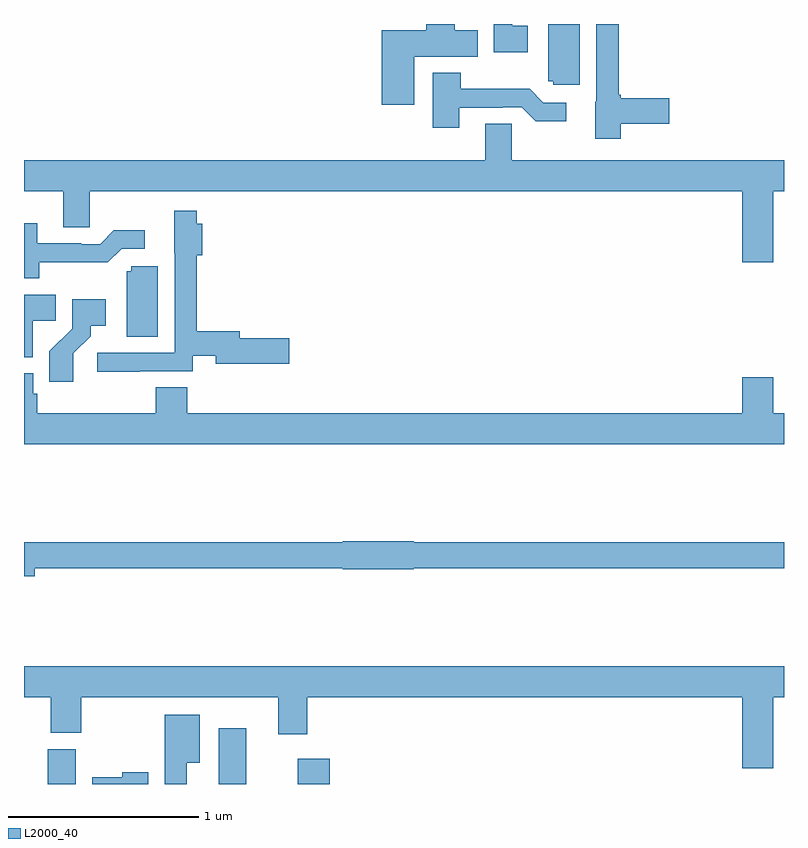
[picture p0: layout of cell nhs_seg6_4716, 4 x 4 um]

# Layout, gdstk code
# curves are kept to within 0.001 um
import gdstk
lib = gdstk.Library(unit=1e-6, precision=1e-09)
def R(c, l, rs):  # rectangles x0, y0, x1, y1
    for r in rs: c.add(gdstk.rectangle(r[:2], r[2:], *l))
def P(c, l, *ps):  # polygons
    for p in ps: c.add(gdstk.Polygon(p, *l))
L2000_40 = (2000, 40)

nhs_seg6_4716 = lib.new_cell('nhs_seg6_4716')
R(nhs_seg6_4716, L2000_40, [(389.126,993.5,389.272,993.684), (390.026,993.5,390.169,993.793), (390.44,993.5,390.608,993.634)])
P(nhs_seg6_4716, L2000_40, [(391.651,997.492),(391.57,997.492),(391.57,997.5),(391.473,997.5),(391.473,997.352),(391.651,997.352)],
  [(392.142,996.974),(392.395,996.974),(392.395,997.109),(392.142,997.109),(392.142,997.127),(392.129,997.127),(392.129,997.5),(392.013,997.5),(392.013,997.092),(392.006,997.092),(392.006,996.896),(392.142,996.896)],
  [(391.054,997.328),(391.388,997.328),(391.388,997.466),(391.267,997.466),(391.267,997.5),(391.118,997.5),(391.118,997.468),(390.884,997.468),(390.884,997.074),(391.054,997.074)],
  [(391.924,997.5),(391.76,997.5),(391.76,997.2),(391.785,997.2),(391.785,997.179),(391.924,997.179)],
  [(391.291,997.059),(391.52,997.059),(391.52,997.062),(391.62,997.062),(391.693,996.989),(391.855,996.989),(391.855,997.086),(391.734,997.086),(391.661,997.159),(391.299,997.159),(391.299,997.243),(391.151,997.243),(391.151,996.954),(391.291,996.954)],
  [(392.944,996.62),(393,996.62),(393,996.784),(391.566,996.784),(391.566,996.974),(391.427,996.974),(391.427,996.784),(389,996.784),(389,996.62),(389.207,996.62),(389.207,996.43),(389.346,996.43),(389.346,996.62),(392.78,996.62),(392.78,996.246),(392.944,996.246)],
  [(389.609,995.673),(389.889,995.673),(389.889,995.754),(390.008,995.754),(390.008,995.711),(390.397,995.711),(390.397,995.846),(390.136,995.846),(390.136,995.882),(389.909,995.882),(389.909,996.283),(389.939,996.283),(389.939,996.448),(389.909,996.448),(389.909,996.517),(389.792,996.517),(389.792,996.294),(389.793,996.294),(389.793,995.769),(389.385,995.769),(389.385,995.671),(389.609,995.671)],
  [(389.079,996.246),(389.441,996.245),(389.514,996.318),(389.635,996.318),(389.635,996.415),(389.473,996.415),(389.4,996.342),(389.3,996.342),(389.3,996.345),(389.071,996.345),(389.071,996.451),(389,996.451),(389,996.161),(389.079,996.161)],
  [(389.704,996.225),(389.565,996.225),(389.565,996.198),(389.54,996.198),(389.54,995.854),(389.704,995.854)],
  [(389.047,995.938),(389.168,995.938),(389.168,996.076),(389,996.076),(389,995.747),(389.047,995.747)],
  [(389.26,995.767),(389.35,995.857),(389.35,995.912),(389.431,995.912),(389.431,996.052),(389.253,996.052),(389.253,995.897),(389.134,995.778),(389.134,995.616),(389.26,995.616)],
  [(393,995.452),(392.944,995.452),(392.944,995.641),(392.78,995.641),(392.78,995.452),(389.858,995.452),(389.858,995.588),(389.693,995.588),(389.693,995.452),(389.069,995.452),(389.069,995.553),(389.049,995.553),(389.049,995.662),(389,995.662),(389,995.288),(393,995.288)],
  [(389.056,994.636),(390.678,994.636),(390.678,994.631),(391.05,994.631),(391.05,994.636),(393,994.636),(393,994.772),(391.05,994.772),(391.05,994.778),(390.678,994.778),(390.678,994.772),(389,994.772),(389,994.594),(389.056,994.594)],
  [(392.944,993.956),(393,993.956),(393,994.12),(389,994.12),(389,993.956),(389.141,993.956),(389.141,993.769),(389.301,993.769),(389.301,993.956),(390.338,993.956),(390.338,993.762),(390.491,993.762),(390.491,993.956),(392.78,993.956),(392.78,993.582),(392.944,993.582)],
  [(389.857,993.611),(389.926,993.611),(389.926,993.865),(389.741,993.865),(389.741,993.5),(389.857,993.5)],
  [(389.653,993.562),(389.517,993.562),(389.517,993.535),(389.36,993.535),(389.36,993.5),(389.653,993.5)])

lib.write_gds('nhs_seg6_4716.gds')
